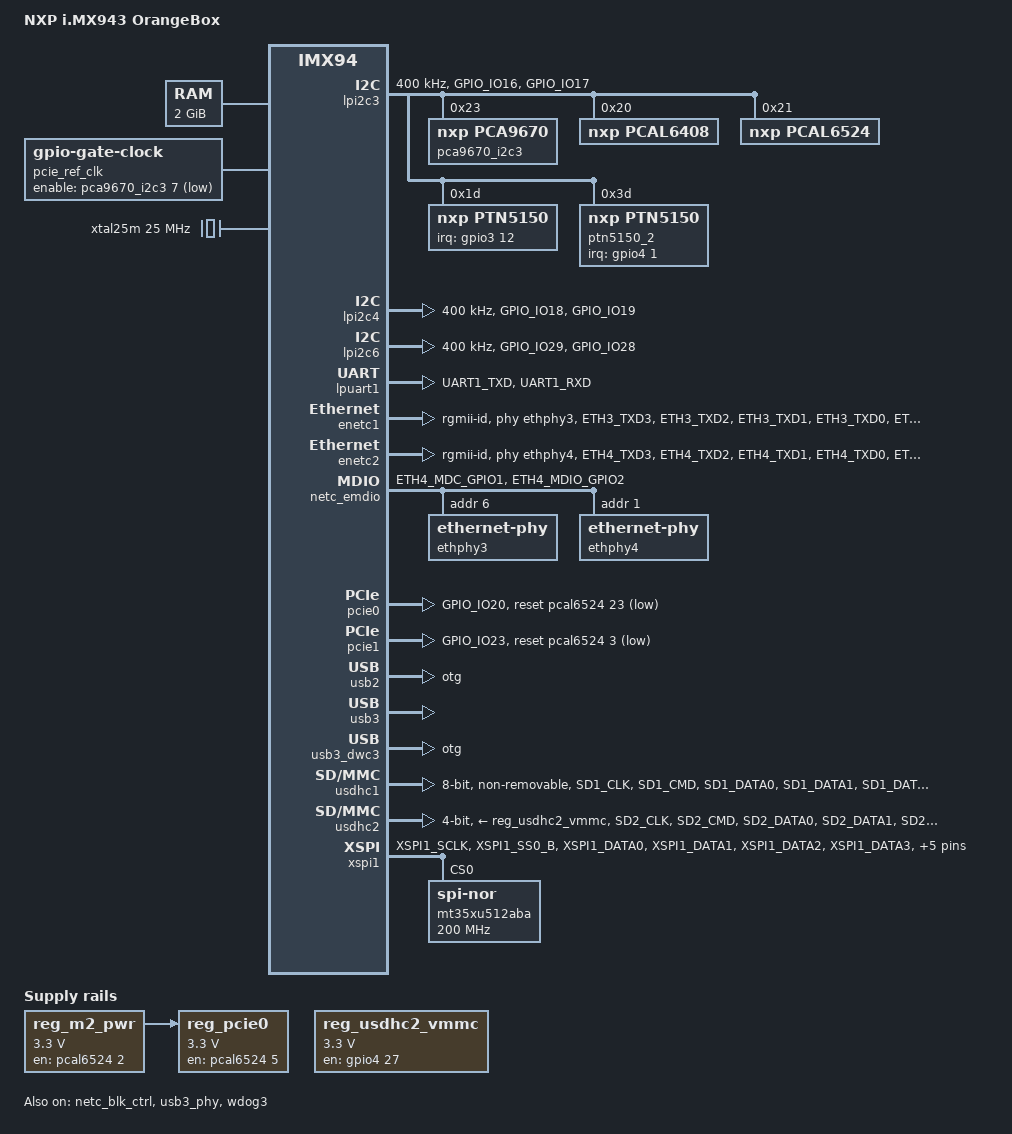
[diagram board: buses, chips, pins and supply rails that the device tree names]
// SPDX-License-Identifier: (GPL-2.0+ OR MIT)
/*
 * Copyright 2024-2025 NXP
 */

/dts-v1/;

#include "imx943.dtsi"
#include <dt-bindings/usb/pd.h>

/ {
	model = "NXP i.MX943 OrangeBox";
	compatible = "fsl,imx943-orangebox", "fsl,imx94";

	aliases {
		mmc0 = &usdhc1;
		mmc1 = &usdhc2;
		serial0 = &lpuart1;
		ethernet0 = &enetc3;
		ethernet1 = &enetc1;
		ethernet2 = &enetc2;
	};

	chosen {
		bootargs = "console=ttyLP0,115200 earlycon";
		stdout-path = &lpuart1;
	};

	memory@80000000 {
		device_type = "memory";
		reg = <0x0 0x80000000 0x0 0x80000000>;
	};

	pcie_ref_clk: clock-pcie-ref {
		compatible = "gpio-gate-clock";
		clocks = <&xtal25m>;
		#clock-cells = <0>;
		enable-gpios = <&pca9670_i2c3 7 GPIO_ACTIVE_LOW>;
	};

	reserved-memory {
		#address-cells = <2>;
		#size-cells = <2>;
		ranges;

		linux,cma {
			compatible = "shared-dma-pool";
			reusable;
			size = <0 0x10000000>;
			alloc-ranges = <0 0x80000000 0 0x7F000000>;
			linux,cma-default;
		};
	};

	reg_m2_pwr: regulator-m2-pwr {
		compatible = "regulator-fixed";
		regulator-name = "M.2-power";
		regulator-min-microvolt = <3300000>;
		regulator-max-microvolt = <3300000>;
		gpio = <&pcal6524 2 GPIO_ACTIVE_HIGH>;
		enable-active-high;
		/*
		 * M.2 device only can be enabled(W_DISABLE1#) after all Power
		 * Rails reach their minimum operating voltage (PCI Express M.2
		 * Specification r5.1 3.1.4 Power-up Timing).
		 * Set a delay equal to the max value of Tsettle here.
		 */
		startup-delay-us = <5000>;
	};

	reg_pcie0: regulator-pcie {
		compatible = "regulator-fixed";
		regulator-name = "PCIE_WLAN_EN";
		regulator-min-microvolt = <3300000>;
		regulator-max-microvolt = <3300000>;
		vin-supply = <&reg_m2_pwr>;
		gpio = <&pcal6524 5 GPIO_ACTIVE_HIGH>;
		enable-active-high;
	};

	reg_usdhc2_vmmc: regulator-usdhc2 {
		compatible = "regulator-fixed";
		pinctrl-names = "default";
		pinctrl-0 = <&pinctrl_reg_usdhc2_vmmc>;
		regulator-name = "VDD_SD2_3V3";
		regulator-min-microvolt = <3300000>;
		regulator-max-microvolt = <3300000>;
		gpio = <&gpio4 27 GPIO_ACTIVE_HIGH>;
		off-on-delay-us = <12000>;
		enable-active-high;
	};

	xtal25m: clock-xtal25m {
		compatible = "fixed-clock";
		#clock-cells = <0>;
		clock-frequency = <25000000>;
		clock-output-names = "xtal_25MHz";
	};
};

&lpi2c3 {
	clock-frequency = <400000>;
	pinctrl-names = "default";
	pinctrl-0 = <&pinctrl_lpi2c3>;
	status = "okay";

	pca9670_i2c3: gpio@23 {
		compatible = "nxp,pca9670";
		reg = <0x23>;
		gpio-controller;
		#gpio-cells = <2>;

		/* PCIE clock FANOUT buffer U12 VOE1/2/3/4 port on */
		pcie-p1-on-hog {
			gpio-hog;
			gpios = <1 GPIO_ACTIVE_HIGH>;
			output-low;
		};

		pcie-p2-on-hog {
			gpio-hog;
			gpios = <2 GPIO_ACTIVE_HIGH>;
			output-low;
		};

		pcie-p3-on-hog {
			gpio-hog;
			gpios = <3 GPIO_ACTIVE_HIGH>;
			output-low;
		};

		pcie-p4-on-hog {
			gpio-hog;
			gpios = <4 GPIO_ACTIVE_HIGH>;
			output-low;
		};
	};

	pcal6408: gpio@20 {
		compatible = "nxp,pcal6408";
		reg = <0x20>;
		gpio-controller;
		#gpio-cells = <2>;
	};

	pcal6524: gpio@21 {
		compatible = "nxp,pcal6524";
		reg = <0x21>;
		gpio-controller;
		#gpio-cells = <2>;
	};

	ptn5150: tcpc@1d {
		compatible = "nxp,ptn5150";
		reg = <0x1d>;
		pinctrl-names = "default";
		pinctrl-0 = <&pinctrl_typec>;
		interrupt-parent = <&gpio3>;
		interrupts = <12 IRQ_TYPE_LEVEL_LOW>;
		status = "okay";

		typec_con: connector {
			compatible = "usb-c-connector";
			label = "USB-C";
			power-role = "dual";
			data-role = "dual";
			try-power-role = "sink";
			source-pdos = <PDO_FIXED(5000, 3000, PDO_FIXED_USB_COMM)>;
			sink-pdos = <PDO_FIXED(5000, 0, PDO_FIXED_USB_COMM)>;
			op-sink-microwatt = <0>;
			self-powered;
		};
	};

	ptn5150_2: tcpc@3d {
		compatible = "nxp,ptn5150";
		reg = <0x3d>;
		pinctrl-names = "default";
		pinctrl-0 = <&pinctrl_typec2>;
		interrupt-parent = <&gpio4>;
		interrupts = <1 IRQ_TYPE_LEVEL_LOW>;
		status = "okay";

		typec_con_2: connector_2 {
			compatible = "usb-c-connector";
			label = "USB-C";
			power-role = "dual";
			data-role = "dual";
			try-power-role = "sink";
			source-pdos = <PDO_FIXED(5000, 3000, PDO_FIXED_USB_COMM)>;
			sink-pdos = <PDO_FIXED(5000, 0, PDO_FIXED_USB_COMM)>;
			op-sink-microwatt = <0>;
			self-powered;
		};
	};
};

&lpi2c4 {
	clock-frequency = <400000>;
	pinctrl-names = "default";
	pinctrl-0 = <&pinctrl_lpi2c4>;
	status = "okay";
};

&lpi2c6 {
	clock-frequency = <400000>;
	pinctrl-names = "default";
	pinctrl-0 = <&pinctrl_lpi2c6>;
	status = "okay";
};

&lpuart1 {
	/* console */
	pinctrl-names = "default";
	pinctrl-0 = <&pinctrl_uart1>;
	status = "okay";
};

&netc_blk_ctrl {
	assigned-clocks = <&scmi_clk IMX94_CLK_MAC2>,
			  <&scmi_clk IMX94_CLK_MAC4>,
			  <&scmi_clk IMX94_CLK_MAC5>;
	assigned-clock-parents = <&scmi_clk IMX94_CLK_SYSPLL1_PFD0>,
				 <&scmi_clk IMX94_CLK_SYSPLL1_PFD0>,
				 <&scmi_clk IMX94_CLK_SYSPLL1_PFD0>;
	assigned-clock-rates = <250000000>, <250000000>, <250000000>;
	status = "okay";
};

/* only enetc1 & enetc2 used in uboot */
&enetc1 {
	clocks = <&scmi_clk IMX94_CLK_MAC4>;
	clock-names = "enet_ref_clk";
	pinctrl-names = "default";
	pinctrl-0 = <&pinctrl_eth3>;
	phy-handle = <&ethphy3>;
	phy-mode = "rgmii-id";
	status = "okay";
};

&enetc2 {
	clocks = <&scmi_clk IMX94_CLK_MAC5>;
	clock-names = "enet_ref_clk";
	pinctrl-names = "default";
	pinctrl-0 = <&pinctrl_eth4>;
	phy-handle = <&ethphy4>;
	phy-mode = "rgmii-id";
	status = "okay";
};

&netc_emdio {
	pinctrl-names = "default";
	pinctrl-0 = <&pinctrl_emdio>;
	status = "okay";

	ethphy3: ethernet-phy@6 {
		reg = <0x6>;
		realtek,clkout-disable;
	};

	ethphy4: ethernet-phy@1 {
		reg = <1>;
		tx-internal-delay-ps = <1800>;
		rx-internal-delay-ps = <1666>;
	};
};

&pcie0 {
	pinctrl-0 = <&pinctrl_pcie0>;
	pinctrl-names = "default";
	clocks = <&scmi_clk IMX94_CLK_HSIO>,
		 <&scmi_clk IMX94_CLK_HSIOPLL>,
		 <&scmi_clk IMX94_CLK_HSIOPLL_VCO>,
		 <&scmi_clk IMX94_CLK_HSIOPCIEAUX>,
		 <&pcie_ref_clk>;
	clock-names = "pcie", "pcie_bus", "pcie_phy", "pcie_aux", "ext-ref";
	reset-gpio = <&pcal6524 23 GPIO_ACTIVE_LOW>;
	status = "okay";
};

&pcie1 {
	pinctrl-0 = <&pinctrl_pcie1>;
	pinctrl-names = "default";
	clocks = <&scmi_clk IMX94_CLK_HSIO>,
		 <&scmi_clk IMX94_CLK_HSIOPLL>,
		 <&scmi_clk IMX94_CLK_HSIOPLL_VCO>,
		 <&scmi_clk IMX94_CLK_HSIOPCIEAUX>,
		 <&pcie_ref_clk>;
	clock-names = "pcie", "pcie_bus", "pcie_phy", "pcie_aux", "ext-ref";
	reset-gpio = <&pcal6524 3 GPIO_ACTIVE_LOW>;
	vpcie-supply = <&reg_pcie0>;
	status = "okay";
};

&usb2 {
	dr_mode = "otg";
	hnp-disable;
	srp-disable;
	adp-disable;
	disable-over-current;
	status = "okay";
};

&usb3 {
	status = "okay";
};

&usb3_dwc3 {
	dr_mode = "otg";
	hnp-disable;
	srp-disable;
	adp-disable;
	usb-role-switch;
	role-switch-default-mode = "none";
	snps,dis-u1-entry-quirk;
	snps,dis-u2-entry-quirk;
	status = "okay";
};

&usb3_phy {
	orientation-switch;
	status = "okay";
};

&usdhc1 {
	pinctrl-names = "default", "state_100mhz", "state_200mhz", "sleep";
	pinctrl-0 = <&pinctrl_usdhc1>;
	pinctrl-1 = <&pinctrl_usdhc1_100mhz>;
	pinctrl-2 = <&pinctrl_usdhc1_200mhz>;
	pinctrl-3 = <&pinctrl_usdhc1>;
	bus-width = <8>;
	non-removable;
	no-sdio;
	no-sd;
	status = "okay";
};

&usdhc2 {
	pinctrl-names = "default", "state_100mhz", "state_200mhz", "sleep";
	pinctrl-0 = <&pinctrl_usdhc2>, <&pinctrl_usdhc2_gpio>;
	pinctrl-1 = <&pinctrl_usdhc2_100mhz>, <&pinctrl_usdhc2_gpio>;
	pinctrl-2 = <&pinctrl_usdhc2_200mhz>, <&pinctrl_usdhc2_gpio>;
	pinctrl-3 = <&pinctrl_usdhc2>, <&pinctrl_usdhc2_gpio>;
	cd-gpios = <&gpio4 20 GPIO_ACTIVE_LOW>;
	fsl,cd-gpio-wakeup-disable;
	vmmc-supply = <&reg_usdhc2_vmmc>;
	bus-width = <4>;
	status = "okay";
};

&wdog3 {
	status = "okay";
};

&xspi1 {
	pinctrl-names = "default";
	pinctrl-0 = <&pinctrl_xspi1>;
	nxp,xspi-env = <0>;
	nxp,xspi-gmid;
	status = "okay";

	mt35xu512aba: flash@0 {
		reg = <0>;
		#address-cells = <1>;
		#size-cells = <1>;
		compatible = "jedec,spi-nor";
		spi-max-frequency = <200000000>;
		spi-tx-bus-width = <8>;
		spi-rx-bus-width = <8>;
	};
};

&scmi_iomuxc {
	pinctrl_emdio: emdiogrp{
		fsl,pins = <
			IMX94_PAD_ETH4_MDC_GPIO1__NETC_EMDC		0x51e
			IMX94_PAD_ETH4_MDIO_GPIO2__NETC_EMDIO		0x91e
		>;
	};

	pinctrl_eth3: eth3grp {
		fsl,pins = <
			IMX94_PAD_ETH3_TXD3__NETC_PINMUX_ETH3_TXD3		0x51e
			IMX94_PAD_ETH3_TXD2__NETC_PINMUX_ETH3_TXD2		0x51e
			IMX94_PAD_ETH3_TXD1__NETC_PINMUX_ETH3_TXD1		0x51e
			IMX94_PAD_ETH3_TXD0__NETC_PINMUX_ETH3_TXD0		0x51e
			IMX94_PAD_ETH3_TX_CTL__NETC_PINMUX_ETH3_TX_CTL		0x51e
			IMX94_PAD_ETH3_TX_CLK__NETC_PINMUX_ETH3_TX_CLK		0x59e
			IMX94_PAD_ETH3_RX_CTL__NETC_PINMUX_ETH3_RX_CTL		0x51e
			IMX94_PAD_ETH3_RX_CLK__NETC_PINMUX_ETH3_RX_CLK		0x59e
			IMX94_PAD_ETH3_RXD0__NETC_PINMUX_ETH3_RXD0		0x51e
			IMX94_PAD_ETH3_RXD1__NETC_PINMUX_ETH3_RXD1		0x51e
			IMX94_PAD_ETH3_RXD2__NETC_PINMUX_ETH3_RXD2		0x51e
			IMX94_PAD_ETH3_RXD3__NETC_PINMUX_ETH3_RXD3		0x51e
		>;
	};

	pinctrl_eth4: eth4grp {
		fsl,pins = <
			IMX94_PAD_ETH4_TXD3__NETC_PINMUX_ETH4_TXD3		0x51e
			IMX94_PAD_ETH4_TXD2__NETC_PINMUX_ETH4_TXD2		0x51e
			IMX94_PAD_ETH4_TXD1__NETC_PINMUX_ETH4_TXD1		0x51e
			IMX94_PAD_ETH4_TXD0__NETC_PINMUX_ETH4_TXD0		0x51e
			IMX94_PAD_ETH4_TX_CTL__NETC_PINMUX_ETH4_TX_CTL		0x51e
			IMX94_PAD_ETH4_TX_CLK__NETC_PINMUX_ETH4_TX_CLK		0x59e
			IMX94_PAD_ETH4_RX_CTL__NETC_PINMUX_ETH4_RX_CTL		0x51e
			IMX94_PAD_ETH4_RX_CLK__NETC_PINMUX_ETH4_RX_CLK		0x59e
			IMX94_PAD_ETH4_RXD0__NETC_PINMUX_ETH4_RXD0		0x51e
			IMX94_PAD_ETH4_RXD1__NETC_PINMUX_ETH4_RXD1		0x51e
			IMX94_PAD_ETH4_RXD2__NETC_PINMUX_ETH4_RXD2		0x51e
			IMX94_PAD_ETH4_RXD3__NETC_PINMUX_ETH4_RXD3		0x51e
		>;
	};

	pinctrl_uart1: uart1grp {
		fsl,pins = <
			IMX94_PAD_UART1_TXD__LPUART1_TX		0x30e
			IMX94_PAD_UART1_RXD__LPUART1_RX		0x30e
		>;
	};

	pinctrl_lpi2c3: lpi2c3grp {
		fsl,pins = <
			IMX94_PAD_GPIO_IO16__LPI2C3_SDA		0x40000b8e
			IMX94_PAD_GPIO_IO17__LPI2C3_SCL		0x40000b8e
		>;
	};

	pinctrl_lpi2c4: lpi2c4grp {
		fsl,pins = <
			IMX94_PAD_GPIO_IO18__LPI2C4_SDA		0x40000b8e
			IMX94_PAD_GPIO_IO19__LPI2C4_SCL		0x40000b8e
		>;
	};

	pinctrl_lpi2c6: lpi2c6grp {
		fsl,pins = <
			IMX94_PAD_GPIO_IO29__LPI2C6_SDA		0x40000b8e
			IMX94_PAD_GPIO_IO28__LPI2C6_SCL		0x40000b8e
		>;
	};

	pinctrl_pcie0: pcie0grp {
		fsl,pins = <
			IMX94_PAD_GPIO_IO20__PCIE1_CLKREQ_B	0x4000030e
		>;
	};

	pinctrl_pcie1: pcie1grp {
		fsl,pins = <
			IMX94_PAD_GPIO_IO23__PCIE2_CLKREQ_B	0x4000030e
		>;
	};

	pinctrl_typec: typecgrp {
		fsl,pins = <
			IMX94_PAD_GPIO_IO44__GPIO3_IO12		0x30e
		>;
	};

	pinctrl_typec2: typec2grp {
		fsl,pins = <
			IMX94_PAD_CCM_CLKO2__GPIO4_IO1		0x30e
		>;
	};

	pinctrl_usdhc1: usdhc1grp {
		fsl,pins = <
			IMX94_PAD_SD1_CLK__USDHC1_CLK		0x158e
			IMX94_PAD_SD1_CMD__USDHC1_CMD		0x138e
			IMX94_PAD_SD1_DATA0__USDHC1_DATA0	0x138e
			IMX94_PAD_SD1_DATA1__USDHC1_DATA1	0x138e
			IMX94_PAD_SD1_DATA2__USDHC1_DATA2	0x138e
			IMX94_PAD_SD1_DATA3__USDHC1_DATA3	0x138e
			IMX94_PAD_SD1_DATA4__USDHC1_DATA4	0x138e
			IMX94_PAD_SD1_DATA5__USDHC1_DATA5	0x138e
			IMX94_PAD_SD1_DATA6__USDHC1_DATA6	0x138e
			IMX94_PAD_SD1_DATA7__USDHC1_DATA7	0x138e
			IMX94_PAD_SD1_STROBE__USDHC1_STROBE	0x158e
		>;
	};

	pinctrl_usdhc1_100mhz: usdhc1-100mhzgrp {
		fsl,pins = <
			IMX94_PAD_SD1_CLK__USDHC1_CLK		0x158e
			IMX94_PAD_SD1_CMD__USDHC1_CMD		0x138e
			IMX94_PAD_SD1_DATA0__USDHC1_DATA0	0x138e
			IMX94_PAD_SD1_DATA1__USDHC1_DATA1	0x138e
			IMX94_PAD_SD1_DATA2__USDHC1_DATA2	0x138e
			IMX94_PAD_SD1_DATA3__USDHC1_DATA3	0x138e
			IMX94_PAD_SD1_DATA4__USDHC1_DATA4	0x138e
			IMX94_PAD_SD1_DATA5__USDHC1_DATA5	0x138e
			IMX94_PAD_SD1_DATA6__USDHC1_DATA6	0x138e
			IMX94_PAD_SD1_DATA7__USDHC1_DATA7	0x138e
			IMX94_PAD_SD1_STROBE__USDHC1_STROBE	0x158e
		>;
	};

	pinctrl_usdhc1_200mhz: usdhc1-200mhzgrp {
		fsl,pins = <
			IMX94_PAD_SD1_CLK__USDHC1_CLK		0x15fe
			IMX94_PAD_SD1_CMD__USDHC1_CMD		0x13fe
			IMX94_PAD_SD1_DATA0__USDHC1_DATA0	0x13fe
			IMX94_PAD_SD1_DATA1__USDHC1_DATA1	0x13fe
			IMX94_PAD_SD1_DATA2__USDHC1_DATA2	0x13fe
			IMX94_PAD_SD1_DATA3__USDHC1_DATA3	0x13fe
			IMX94_PAD_SD1_DATA4__USDHC1_DATA4	0x13fe
			IMX94_PAD_SD1_DATA5__USDHC1_DATA5	0x13fe
			IMX94_PAD_SD1_DATA6__USDHC1_DATA6	0x13fe
			IMX94_PAD_SD1_DATA7__USDHC1_DATA7	0x13fe
			IMX94_PAD_SD1_STROBE__USDHC1_STROBE	0x15fe
		>;
	};

	pinctrl_usdhc2: usdhc2grp {
		fsl,pins = <
			IMX94_PAD_SD2_CLK__USDHC2_CLK		0x158e
			IMX94_PAD_SD2_CMD__USDHC2_CMD		0x138e
			IMX94_PAD_SD2_DATA0__USDHC2_DATA0	0x138e
			IMX94_PAD_SD2_DATA1__USDHC2_DATA1	0x138e
			IMX94_PAD_SD2_DATA2__USDHC2_DATA2	0x138e
			IMX94_PAD_SD2_DATA3__USDHC2_DATA3	0x138e
			IMX94_PAD_SD2_VSELECT__USDHC2_VSELECT	0x50e
		>;
	};

	pinctrl_usdhc2_100mhz: usdhc2-100mhzgrp {
		fsl,pins = <
			IMX94_PAD_SD2_CLK__USDHC2_CLK		0x158e
			IMX94_PAD_SD2_CMD__USDHC2_CMD		0x138e
			IMX94_PAD_SD2_DATA0__USDHC2_DATA0	0x138e
			IMX94_PAD_SD2_DATA1__USDHC2_DATA1	0x138e
			IMX94_PAD_SD2_DATA2__USDHC2_DATA2	0x138e
			IMX94_PAD_SD2_DATA3__USDHC2_DATA3	0x138e
			IMX94_PAD_SD2_VSELECT__USDHC2_VSELECT	0x51e
		>;
	};

	pinctrl_usdhc2_200mhz: usdhc2-200mhzgrp {
		fsl,pins = <
			IMX94_PAD_SD2_CLK__USDHC2_CLK		0x15fe
			IMX94_PAD_SD2_CMD__USDHC2_CMD		0x13fe
			IMX94_PAD_SD2_DATA0__USDHC2_DATA0	0x13fe
			IMX94_PAD_SD2_DATA1__USDHC2_DATA1	0x13fe
			IMX94_PAD_SD2_DATA2__USDHC2_DATA2	0x13fe
			IMX94_PAD_SD2_DATA3__USDHC2_DATA3	0x13fe
			IMX94_PAD_SD2_VSELECT__USDHC2_VSELECT	0x51e
		>;
	};

	pinctrl_usdhc2_gpio: usdhc2gpiogrp {
		fsl,pins = <
			IMX94_PAD_SD2_CD_B__GPIO4_IO20		0x30e
		>;
	};

	pinctrl_reg_usdhc2_vmmc: regusdhc2vmmcgrp {
		fsl,pins = <
			IMX94_PAD_SD2_RESET_B__GPIO4_IO27	0x30e
		>;
	};

	pinctrl_xspi1: xspi1grp {
		fsl,pins = <
			IMX94_PAD_XSPI1_SCLK__XSPI1_A_SCLK	0x3fe
			IMX94_PAD_XSPI1_SS0_B__XSPI1_A_SS0_B	0x3fe
			IMX94_PAD_XSPI1_DATA0__XSPI1_A_DATA0	0x3fe
			IMX94_PAD_XSPI1_DATA1__XSPI1_A_DATA1	0x3fe
			IMX94_PAD_XSPI1_DATA2__XSPI1_A_DATA2	0x3fe
			IMX94_PAD_XSPI1_DATA3__XSPI1_A_DATA3	0x3fe
			IMX94_PAD_XSPI1_DATA4__XSPI1_A_DATA4	0x3fe
			IMX94_PAD_XSPI1_DATA5__XSPI1_A_DATA5	0x3fe
			IMX94_PAD_XSPI1_DATA6__XSPI1_A_DATA6	0x3fe
			IMX94_PAD_XSPI1_DATA7__XSPI1_A_DATA7	0x3fe
			IMX94_PAD_XSPI1_DQS__XSPI1_A_DQS	0x3fe
		>;
	};
};
